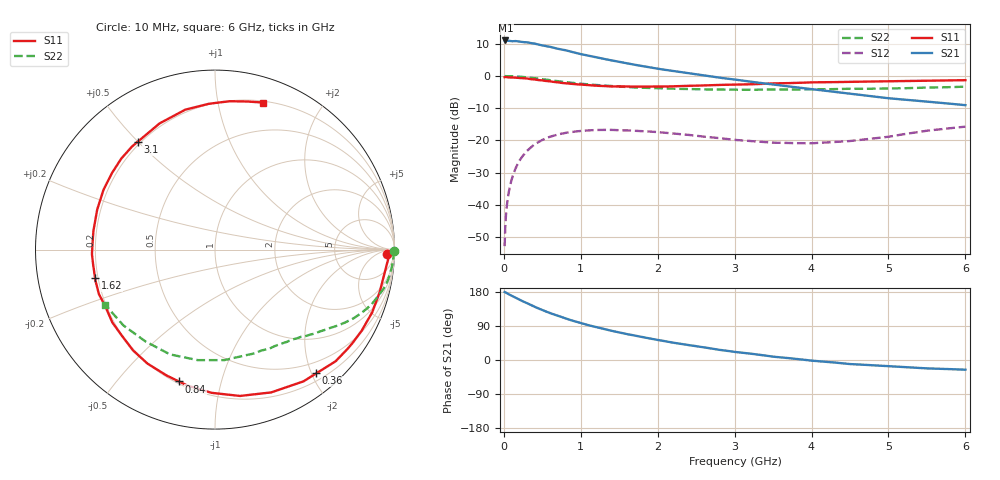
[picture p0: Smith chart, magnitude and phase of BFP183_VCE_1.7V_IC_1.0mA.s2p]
! Infineon Technologies  Discrete & RF Semiconductors
! BFP183
! VCE = 1.7 V,  IC =  1.0 mA
! Common Emitter S-Parameters:  Jan 2016
# GHz  S  MA  R  50
!  f  S11  S21  S12  S22
! GHz  MAG  ANG  MAG  ANG  MAG  ANG  MAG  ANG
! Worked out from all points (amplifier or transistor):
!   210 points, 10 MHz to 6 GHz, reference 50 ohm
!   highest |S21| = 11.0 dB at 20 MHz (marker M1)
!   |S21| within 3 dB of that: start of sweep to 794.6 MHz
!   unconditionally stable (mu >= 1): 2.453 GHz to end of sweep
!   at 185 MHz: K = 0.08, MSG = 18.9 dB, |S12| = -27.0 dB
!   at 1.52 GHz: K = 0.59, MSG = 10.6 dB, |S12| = -16.8 dB
!   at 6 GHz: K = 1.08, MAG = 1.6 dB, |S12| = -15.7 dB
!   S11 on the Smith chart (normalised r, x): 10 MHz: 38, -22; 360 MHz: 0.31, -2.07; 840 MHz: 0.21, -0.74; 1.62 GHz: 0.19, -0.11; 3.1 GHz: 0.19, +0.50; 6 GHz: 0.21, +1.35
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0.01  0.9611 -1.3  3.488 179.4  0.0023 89.3  0.9999 -0.5
0.02  0.9674 -2.9  3.556 178.6  0.005 85.7  0.9946 -1.0
0.035  0.9604 -5.1  3.54 176.8  0.0087 86.9  0.9946 -1.8
0.055  0.9535 -8.0  3.518 174.4  0.0136 86.2  0.9942 -2.9
0.115  0.9446 -16.6  3.46 168.2  0.028 79.0  0.9889 -6.0
0.15  0.943 -21.8  3.485 164.6  0.0363 76.7  0.9846 -7.8
0.24  0.9262 -34.3  3.364 155.5  0.0564 69.1  0.9688 -12.2
0.3  0.9158 -42.8  3.332 150.2  0.0688 64.2  0.9516 -14.9
0.36  0.8911 -50.7  3.228 144.3  0.0797 59.3  0.9347 -17.5
0.4  0.8843 -56.1  3.178 140.2  0.0873 56.7  0.9246 -19.3
0.48  0.8577 -66.0  3.014 133.3  0.099 50.8  0.8989 -22.2
0.6  0.8272 -80.3  2.836 123.8  0.1144 43.2  0.8623 -26.3
0.84  0.7618 -105.3  2.438 107.2  0.1334 30.3  0.7941 -32.6
1.02  0.734 -122.3  2.161 96.4  0.1413 22.3  0.755 -36.5
1.3  0.7014 -144.6  1.84 81.9  0.146 12.5  0.7109 -41.8
1.62  0.6867 -166.8  1.561 67.7  0.1432 4.2  0.6737 -47.1
2.02  0.6852 170.2  1.287 52.2  0.1343 -2.9  0.6447 -53.8
2.6  0.715 143.5  1.017 33.3  0.1147 -7.8  0.6189 -65.0
3.1  0.7392 125.7  0.849 19.2  0.1003 -6.3  0.6121 -76.0
4.1  0.7983 100.0  0.607 -3.3  0.0919 10.4  0.6225 -101.8
5.1  0.8325 83.0  0.441 -17.6  0.1198 24.6  0.6432 -129.9
6  0.8615 72.0  0.353 -25.6  0.1639 21.6  0.6845 -153.2
